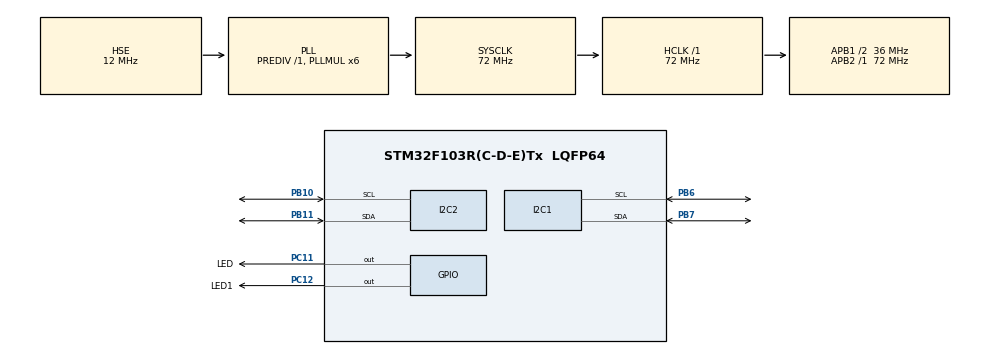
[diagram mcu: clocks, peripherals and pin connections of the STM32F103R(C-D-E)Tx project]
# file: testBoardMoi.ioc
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Mcu.Family=STM32F1
Mcu.Name=STM32F103R(C-D-E)Tx
Mcu.Package=LQFP64
NVIC.PriorityGroup=NVIC_PRIORITYGROUP_4
PA13.Mode=Serial_Wire
PA13.Signal=SYS_JTMS-SWDIO
PA14.Mode=Serial_Wire
PA14.Signal=SYS_JTCK-SWCLK
PB10.Mode=I2C
PB10.Signal=I2C2_SCL
PB11.Mode=I2C
PB11.Signal=I2C2_SDA
PB6.Mode=I2C
PB6.Signal=I2C1_SCL
PB7.Mode=I2C
PB7.Signal=I2C1_SDA
PC11.GPIO_Label=LED
PC11.Signal=GPIO_Output
PC12.GPIO_Label=LED1
PC12.Signal=GPIO_Output
PD0-OSC_IN.Mode=HSE-External-Oscillator
PD0-OSC_IN.Signal=RCC_OSC_IN
PD1-OSC_OUT.Mode=HSE-External-Oscillator
PD1-OSC_OUT.Signal=RCC_OSC_OUT
ProjectManager.HeapSize=0x200
ProjectManager.StackSize=0x400
ProjectManager.TargetToolchain=MDK-ARM V5
RCC.AHBFreq_Value=72000000
RCC.APB1CLKDivider=RCC_HCLK_DIV2
RCC.APB1Freq_Value=36000000
RCC.APB1TimFreq_Value=72000000
RCC.APB2Freq_Value=72000000
RCC.APB2TimFreq_Value=72000000
RCC.HCLKFreq_Value=72000000
RCC.HSE_VALUE=12000000
RCC.PLLMUL=RCC_PLL_MUL6
RCC.PLLSourceVirtual=RCC_PLLSOURCE_HSE
RCC.SYSCLKFreq_VALUE=72000000
RCC.SYSCLKSource=RCC_SYSCLKSOURCE_PLLCLK
RCC.USBFreq_Value=72000000
TIM4.Period=10000-1
TIM4.Prescaler=7200-1
VP_TIM4_VS_ClockSourceINT.Mode=Internal
board=testBoardMoi

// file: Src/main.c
/**
  ******************************************************************************
  * File Name          : main.c
  * Description        : Main program body
  ******************************************************************************
  ** This notice applies to any and all portions of this file
  * that are not between comment pairs USER CODE BEGIN and
  * USER CODE END. Other portions of this file, whether
  * inserted by the user or by software development tools
  * are owned by their respective copyright owners.
  *
  * COPYRIGHT(c) 2020 STMicroelectronics
  *
  * Redistribution and use in source and binary forms, with or without modification,
  * are permitted provided that the following conditions are met:
  *   1. Redistributions of source code must retain the above copyright notice,
  *      this list of conditions and the following disclaimer.
  *   2. Redistributions in binary form must reproduce the above copyright notice,
  *      this list of conditions and the following disclaimer in the documentation
  *      and/or other materials provided with the distribution.
  *   3. Neither the name of STMicroelectronics nor the names of its contributors
  *      may be used to endorse or promote products derived from this software
  *      without specific prior written permission.
  *
  * THIS SOFTWARE IS PROVIDED BY THE COPYRIGHT HOLDERS AND CONTRIBUTORS "AS IS"
  * AND ANY EXPRESS OR IMPLIED WARRANTIES, INCLUDING, BUT NOT LIMITED TO, THE
  * IMPLIED WARRANTIES OF MERCHANTABILITY AND FITNESS FOR A PARTICULAR PURPOSE ARE
  * DISCLAIMED. IN NO EVENT SHALL THE COPYRIGHT HOLDER OR CONTRIBUTORS BE LIABLE
  * FOR ANY DIRECT, INDIRECT, INCIDENTAL, SPECIAL, EXEMPLARY, OR CONSEQUENTIAL
  * DAMAGES (INCLUDING, BUT NOT LIMITED TO, PROCUREMENT OF SUBSTITUTE GOODS OR
  * SERVICES; LOSS OF USE, DATA, OR PROFITS; OR BUSINESS INTERRUPTION) HOWEVER
  * CAUSED AND ON ANY THEORY OF LIABILITY, WHETHER IN CONTRACT, STRICT LIABILITY,
  * OR TORT (INCLUDING NEGLIGENCE OR OTHERWISE) ARISING IN ANY WAY OUT OF THE USE
  * OF THIS SOFTWARE, EVEN IF ADVISED OF THE POSSIBILITY OF SUCH DAMAGE.
  *
  ******************************************************************************
  */

#include "main.h"
#include "stm32f1xx_hal.h"

/* USER CODE BEGIN Includes */
#include "i2c-lcd.h"
#include "stdio.h"
/* USER CODE END Includes */

I2C_HandleTypeDef hi2c1;
I2C_HandleTypeDef hi2c2;

TIM_HandleTypeDef htim4;

/* USER CODE BEGIN PV */
/* Private variables ---------------------------------------------------------*/

/* USER CODE END PV */

void SystemClock_Config(void);
static void MX_GPIO_Init(void);
static void MX_I2C2_Init(void);
static void MX_TIM4_Init(void);
static void MX_I2C1_Init(void);

/* USER CODE BEGIN PFP */
/* Private function prototypes -----------------------------------------------*/

/* USER CODE END PFP */

int main(void)
{

  /* MCU Configuration----------------------------------------------------------*/

  /* Reset of all peripherals, Initializes the Flash interface and the Systick. */
  HAL_Init();

  /* Configure the system clock */
  SystemClock_Config();

  /* Initialize all configured peripherals */
  MX_GPIO_Init();
  MX_I2C2_Init();
  MX_TIM4_Init();
  MX_I2C1_Init();

  /* USER CODE BEGIN 2 */
lcd_init();

  /* USER CODE END 2 */

  /* Infinite loop */
  while (1)
  {

  /* USER CODE BEGIN 3 */

		for(int i =13;i>=0;i--){
		lcd_goto_XY(1,2);
		lcd_send_string("BKHN_LamTran");
		lcd_goto_XY(2,i);
		lcd_send_string("xin chao to la lam");
		HAL_GPIO_TogglePin(LED1_GPIO_Port,LED1_Pin);
		HAL_Delay(500);
		lcd_clear_display();
		HAL_Delay(5);
		}
		for(int i =-9;i>=-20;i--){
		lcd_goto_XY(1,2);
		lcd_send_string("BKHN_LamTran");
		lcd_goto_XY(2,i);
		lcd_send_string("xin chao to la lam");
		HAL_GPIO_TogglePin(LED1_GPIO_Port,LED1_Pin);
		HAL_Delay(500);
		lcd_clear_display();
		HAL_Delay(5);
		}

//	HAL_TIM_PWM_Start(&htim4, TIM_CHANNEL_1);
//	HAL_TIM_PWM_Start(&htim4, TIM_CHANNEL_2);
//	__HAL_TIM_SET_COMPARE(&htim4, TIM_CHANNEL_1, 2500);
//	__HAL_TIM_SET_COMPARE(&htim4, TIM_CHANNEL_2, 2500);
//					HAL_TIM_PWM_Stop(&htim4, TIM_CHANNEL_1);
//	HAL_TIM_PWM_Stop(&htim4, TIM_CHANNEL_2);
  }
  /* USER CODE END 3 */

}

/** System Clock Configuration
*/
void SystemClock_Config(void)
{

  RCC_OscInitTypeDef RCC_OscInitStruct;
  RCC_ClkInitTypeDef RCC_ClkInitStruct;

    /**Initializes the CPU, AHB and APB busses clocks
    */
  RCC_OscInitStruct.OscillatorType = RCC_OSCILLATORTYPE_HSE;
  RCC_OscInitStruct.HSEState = RCC_HSE_ON;
  RCC_OscInitStruct.HSEPredivValue = RCC_HSE_PREDIV_DIV1;
  RCC_OscInitStruct.HSIState = RCC_HSI_ON;
  RCC_OscInitStruct.PLL.PLLState = RCC_PLL_ON;
  RCC_OscInitStruct.PLL.PLLSource = RCC_PLLSOURCE_HSE;
  RCC_OscInitStruct.PLL.PLLMUL = RCC_PLL_MUL6;
  if (HAL_RCC_OscConfig(&RCC_OscInitStruct) != HAL_OK)
  {
    _Error_Handler(__FILE__, __LINE__);
  }

    /**Initializes the CPU, AHB and APB busses clocks
    */
  RCC_ClkInitStruct.ClockType = RCC_CLOCKTYPE_HCLK|RCC_CLOCKTYPE_SYSCLK
                              |RCC_CLOCKTYPE_PCLK1|RCC_CLOCKTYPE_PCLK2;
  RCC_ClkInitStruct.SYSCLKSource = RCC_SYSCLKSOURCE_PLLCLK;
  RCC_ClkInitStruct.AHBCLKDivider = RCC_SYSCLK_DIV1;
  RCC_ClkInitStruct.APB1CLKDivider = RCC_HCLK_DIV2;
  RCC_ClkInitStruct.APB2CLKDivider = RCC_HCLK_DIV1;

  if (HAL_RCC_ClockConfig(&RCC_ClkInitStruct, FLASH_LATENCY_2) != HAL_OK)
  {
    _Error_Handler(__FILE__, __LINE__);
  }

    /**Configure the Systick interrupt time
    */
  HAL_SYSTICK_Config(HAL_RCC_GetHCLKFreq()/1000);

    /**Configure the Systick
    */
  HAL_SYSTICK_CLKSourceConfig(SYSTICK_CLKSOURCE_HCLK);

  /* SysTick_IRQn interrupt configuration */
  HAL_NVIC_SetPriority(SysTick_IRQn, 0, 0);
}

/* I2C1 init function */
static void MX_I2C1_Init(void)
{

  hi2c1.Instance = I2C1;
  hi2c1.Init.ClockSpeed = 100000;
  hi2c1.Init.DutyCycle = I2C_DUTYCYCLE_2;
  hi2c1.Init.OwnAddress1 = 0;
  hi2c1.Init.AddressingMode = I2C_ADDRESSINGMODE_7BIT;
  hi2c1.Init.DualAddressMode = I2C_DUALADDRESS_DISABLE;
  hi2c1.Init.OwnAddress2 = 0;
  hi2c1.Init.GeneralCallMode = I2C_GENERALCALL_DISABLE;
  hi2c1.Init.NoStretchMode = I2C_NOSTRETCH_DISABLE;
  if (HAL_I2C_Init(&hi2c1) != HAL_OK)
  {
    _Error_Handler(__FILE__, __LINE__);
  }

}

/* I2C2 init function */
static void MX_I2C2_Init(void)
{

  hi2c2.Instance = I2C2;
  hi2c2.Init.ClockSpeed = 100000;
  hi2c2.Init.DutyCycle = I2C_DUTYCYCLE_2;
  hi2c2.Init.OwnAddress1 = 0;
  hi2c2.Init.AddressingMode = I2C_ADDRESSINGMODE_7BIT;
  hi2c2.Init.DualAddressMode = I2C_DUALADDRESS_DISABLE;
  hi2c2.Init.OwnAddress2 = 0;
  hi2c2.Init.GeneralCallMode = I2C_GENERALCALL_DISABLE;
  hi2c2.Init.NoStretchMode = I2C_NOSTRETCH_DISABLE;
  if (HAL_I2C_Init(&hi2c2) != HAL_OK)
  {
    _Error_Handler(__FILE__, __LINE__);
  }

}

/* TIM4 init function */
static void MX_TIM4_Init(void)
{

  TIM_ClockConfigTypeDef sClockSourceConfig;
  TIM_MasterConfigTypeDef sMasterConfig;

  htim4.Instance = TIM4;
  htim4.Init.Prescaler = 7200-1;
  htim4.Init.CounterMode = TIM_COUNTERMODE_UP;
  htim4.Init.Period = 10000-1;
  htim4.Init.ClockDivision = TIM_CLOCKDIVISION_DIV1;
  htim4.Init.AutoReloadPreload = TIM_AUTORELOAD_PRELOAD_DISABLE;
  if (HAL_TIM_Base_Init(&htim4) != HAL_OK)
  {
    _Error_Handler(__FILE__, __LINE__);
  }

  sClockSourceConfig.ClockSource = TIM_CLOCKSOURCE_INTERNAL;
  if (HAL_TIM_ConfigClockSource(&htim4, &sClockSourceConfig) != HAL_OK)
  {
    _Error_Handler(__FILE__, __LINE__);
  }

  sMasterConfig.MasterOutputTrigger = TIM_TRGO_RESET;
  sMasterConfig.MasterSlaveMode = TIM_MASTERSLAVEMODE_DISABLE;
  if (HAL_TIMEx_MasterConfigSynchronization(&htim4, &sMasterConfig) != HAL_OK)
  {
    _Error_Handler(__FILE__, __LINE__);
  }

}

/** Configure pins as
        * Analog
        * Input
        * Output
        * EVENT_OUT
        * EXTI
*/
static void MX_GPIO_Init(void)
{

  GPIO_InitTypeDef GPIO_InitStruct;

  /* GPIO Ports Clock Enable */
  __HAL_RCC_GPIOD_CLK_ENABLE();
  __HAL_RCC_GPIOB_CLK_ENABLE();
  __HAL_RCC_GPIOA_CLK_ENABLE();
  __HAL_RCC_GPIOC_CLK_ENABLE();

  /*Configure GPIO pin Output Level */
  HAL_GPIO_WritePin(GPIOC, LED_Pin|LED1_Pin, GPIO_PIN_RESET);

  /*Configure GPIO pins : LED_Pin LED1_Pin */
  GPIO_InitStruct.Pin = LED_Pin|LED1_Pin;
  GPIO_InitStruct.Mode = GPIO_MODE_OUTPUT_PP;
  GPIO_InitStruct.Speed = GPIO_SPEED_FREQ_LOW;
  HAL_GPIO_Init(GPIOC, &GPIO_InitStruct);

}

void _Error_Handler(char * file, int line)
{
  while(1)
  {
  }
}

/************************ (C) COPYRIGHT STMicroelectronics *****END OF FILE****/
